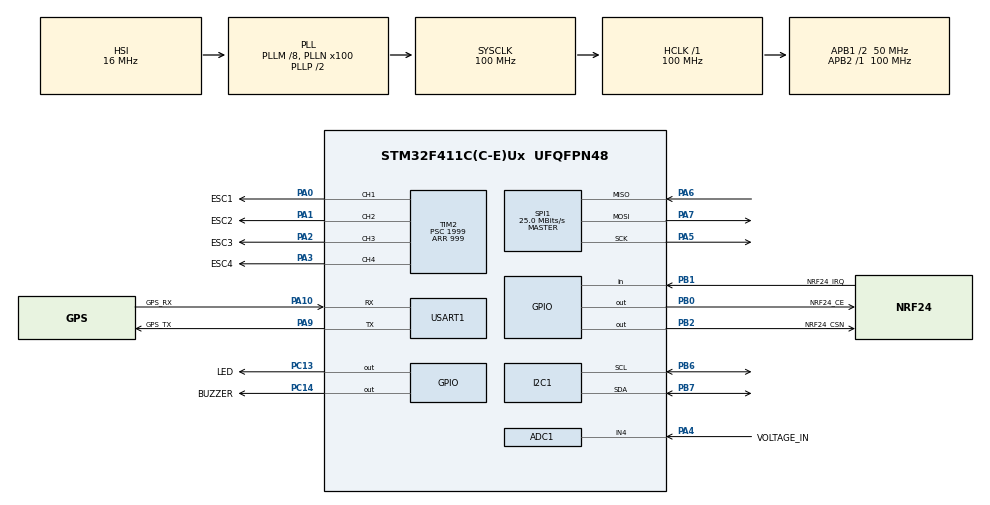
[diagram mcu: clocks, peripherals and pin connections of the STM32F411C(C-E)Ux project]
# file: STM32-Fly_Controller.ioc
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ADC1.Channel-2\#ChannelRegularConversion=ADC_CHANNEL_4
ADC1.ContinuousConvMode=ENABLE
ADC1.NbrOfConversionFlag=1
ADC1.Rank-2\#ChannelRegularConversion=1
ADC1.SamplingTime-2\#ChannelRegularConversion=ADC_SAMPLETIME_3CYCLES
ADC1.master=1
Dma.Request0=SPI1_RX
Dma.SPI1_RX.0.Direction=DMA_PERIPH_TO_MEMORY
Dma.SPI1_RX.0.FIFOMode=DMA_FIFOMODE_DISABLE
Dma.SPI1_RX.0.Instance=DMA2_Stream0
Dma.SPI1_RX.0.MemDataAlignment=DMA_MDATAALIGN_BYTE
Dma.SPI1_RX.0.MemInc=DMA_MINC_ENABLE
Dma.SPI1_RX.0.Mode=DMA_CIRCULAR
Dma.SPI1_RX.0.PeriphDataAlignment=DMA_PDATAALIGN_BYTE
Dma.SPI1_RX.0.PeriphInc=DMA_PINC_DISABLE
Dma.SPI1_RX.0.Priority=DMA_PRIORITY_LOW
I2C1.I2C_Mode=I2C_Fast
Mcu.Family=STM32F4
Mcu.Name=STM32F411C(C-E)Ux
Mcu.Package=UFQFPN48
NVIC.DMA2_Stream0_IRQn=true\:0\:0\:false\:false\:true\:false\:true\:true
NVIC.PriorityGroup=NVIC_PRIORITYGROUP_4
PA0-WKUP.GPIO_Label=ESC1
PA0-WKUP.Signal=S_TIM2_CH1_ETR
PA1.GPIO_Label=ESC2
PA1.Signal=S_TIM2_CH2
PA10.GPIO_Label=GPS_RX
PA10.Mode=Asynchronous
PA10.Signal=USART1_RX
PA13.Mode=Serial_Wire
PA13.Signal=SYS_JTMS-SWDIO
PA14.Mode=Serial_Wire
PA14.Signal=SYS_JTCK-SWCLK
PA2.GPIO_Label=ESC3
PA2.Signal=S_TIM2_CH3
PA3.GPIO_Label=ESC4
PA3.Signal=S_TIM2_CH4
PA4.GPIO_Label=VOLTAGE_IN
PA4.Signal=ADCx_IN4
PA5.Mode=Full_Duplex_Master
PA5.Signal=SPI1_SCK
PA6.Mode=Full_Duplex_Master
PA6.Signal=SPI1_MISO
PA7.Mode=Full_Duplex_Master
PA7.Signal=SPI1_MOSI
PA9.GPIO_Label=GPS_TX
PA9.Mode=Asynchronous
PA9.Signal=USART1_TX
PB0.GPIO_Label=NRF24_CE
PB0.Signal=GPIO_Output
PB1.GPIO_Label=NRF24_IRQ
PB1.Signal=GPIO_Input
PB2.GPIO_Label=NRF24_CSN
PB2.Signal=GPIO_Output
PB6.Mode=I2C
PB6.Signal=I2C1_SCL
PB7.Mode=I2C
PB7.Signal=I2C1_SDA
PC13-ANTI_TAMP.GPIO_Label=LED
PC13-ANTI_TAMP.Signal=GPIO_Output
PC14-OSC32_IN.GPIO_Label=BUZZER
PC14-OSC32_IN.Signal=GPIO_Output
PH0\ -\ OSC_IN.Mode=HSE-External-Oscillator
PH0\ -\ OSC_IN.Signal=RCC_OSC_IN
PH1\ -\ OSC_OUT.Mode=HSE-External-Oscillator
PH1\ -\ OSC_OUT.Signal=RCC_OSC_OUT
ProjectManager.HeapSize=0x200
ProjectManager.StackSize=0x400
ProjectManager.TargetToolchain=STM32CubeIDE
RCC.48MHZClocksFreq_Value=50000000
RCC.AHBFreq_Value=100000000
RCC.APB1CLKDivider=RCC_HCLK_DIV2
RCC.APB1Freq_Value=50000000
RCC.APB1TimFreq_Value=100000000
RCC.APB2Freq_Value=100000000
RCC.APB2TimFreq_Value=100000000
RCC.CortexFreq_Value=100000000
RCC.HCLKFreq_Value=100000000
RCC.HSE_VALUE=25000000
RCC.HSI_VALUE=16000000
RCC.LSE_VALUE=32768
RCC.PLLM=8
RCC.PLLN=100
RCC.SYSCLKFreq_VALUE=100000000
RCC.SYSCLKSource=RCC_SYSCLKSOURCE_PLLCLK
RCC.VCOOutputFreq_Value=200000000
SH.ADCx_IN4.0=ADC1_IN4,IN4
SH.S_TIM2_CH1_ETR.0=TIM2_CH1,PWM Generation1 CH1
SH.S_TIM2_CH2.0=TIM2_CH2,PWM Generation2 CH2
SH.S_TIM2_CH3.0=TIM2_CH3,PWM Generation3 CH3
SH.S_TIM2_CH4.0=TIM2_CH4,PWM Generation4 CH4
SPI1.BaudRatePrescaler=SPI_BAUDRATEPRESCALER_4
SPI1.CalculateBaudRate=25.0 MBits/s
SPI1.Direction=SPI_DIRECTION_2LINES
SPI1.Mode=SPI_MODE_MASTER
SPI1.VirtualType=VM_MASTER
TIM2.AutoReloadPreload=TIM_AUTORELOAD_PRELOAD_ENABLE
TIM2.Channel-PWM\ Generation1\ CH1=TIM_CHANNEL_1
TIM2.Channel-PWM\ Generation2\ CH2=TIM_CHANNEL_2
TIM2.Channel-PWM\ Generation3\ CH3=TIM_CHANNEL_3
TIM2.Channel-PWM\ Generation4\ CH4=TIM_CHANNEL_4
TIM2.OC1Preload_PWM=DISABLE
TIM2.Period=999
TIM2.Prescaler=1999
TIM2.Pulse-PWM\ Generation1\ CH1=45
USART1.VirtualMode=VM_ASYNC
VP_TIM2_VS_ClockSourceINT.Mode=Internal
board=custom

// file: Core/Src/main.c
/* USER CODE BEGIN Header */
/**
  ******************************************************************************
  * @file           : main.c
  * @brief          : Main program body
  ******************************************************************************
  * @attention
  *
  * Copyright (c) 2026 STMicroelectronics.
  * All rights reserved.
  *
  * This software is licensed under terms that can be found in the LICENSE file
  * in the root directory of this software component.
  * If no LICENSE file comes with this software, it is provided AS-IS.
  *
  ******************************************************************************
  */
/* USER CODE END Header */
#include "main.h"

/* USER CODE BEGIN Includes */
#include "nrf24l01.h"
#include "bmp280.h"
#include "stdio.h"
#include "hmc5883l.h"
#include "stdlib.h"
/* USER CODE END Includes */

ADC_HandleTypeDef hadc1;

I2C_HandleTypeDef hi2c1;

SPI_HandleTypeDef hspi1;
DMA_HandleTypeDef hdma_spi1_rx;

TIM_HandleTypeDef htim2;

UART_HandleTypeDef huart1;

void SystemClock_Config(void);
static void MX_GPIO_Init(void);
static void MX_DMA_Init(void);
static void MX_ADC1_Init(void);
static void MX_I2C1_Init(void);
static void MX_SPI1_Init(void);
static void MX_TIM2_Init(void);
static void MX_USART1_UART_Init(void);

/* USER CODE BEGIN 0 */
uint8_t RxAddr[] = {0xEE, 0xDD, 0xCC, 0xBB, 0xAA};
uint8_t RxData[32];
char erlog[50];
//RC_Packet r_packet;
hmc5884l_val_t mval;
uint8_t data[3];
hmc5884l_val_t val;
/* USER CODE END 0 */

int main(void)
{

  /* USER CODE BEGIN 1 */
	uint8_t ret;
  /* USER CODE END 1 */

  /* MCU Configuration--------------------------------------------------------*/

  /* Reset of all peripherals, Initializes the Flash interface and the Systick. */
  HAL_Init();

  /* Configure the system clock */
  SystemClock_Config();

  /* Initialize all configured peripherals */
  MX_GPIO_Init();
  MX_DMA_Init();
  MX_ADC1_Init();
  MX_I2C1_Init();
  MX_SPI1_Init();
  MX_TIM2_Init();
  MX_USART1_UART_Init();
  /* USER CODE BEGIN 2 */
//  uint32_t arr = __HAL_TIM_GET_AUTORELOAD(&htim2);
//  float duty = 4.5;
//  uint32_t ccr;
//  NRF24_Init();
//  NRF24_RxMode(RxAddr, 10);

//  if((ret = bmp280_init(OSRS_2, OSRS_2, MODE_NORMAL, T_SB_0p5, IIR_16)) != 0)
//  {
//	  sprintf(erlog, "bmp280_init: error code %d\n", ret);
//	  HAL_UART_Transmit(&huart1, (uint8_t *)&erlog, sizeof(erlog), HAL_MAX_DELAY);
//	  Error_Handler();
//  }

//  HAL_TIM_Base_Start(&htim2);
//  HAL_TIM_PWM_Start(&htim2, TIM_CHANNEL_1);
//  HAL_TIM_PWM_Start(&htim2, TIM_CHANNEL_2);
//  HAL_TIM_PWM_Start(&htim2, TIM_CHANNEL_3);
//  HAL_TIM_PWM_Start(&htim2, TIM_CHANNEL_4);
//  HAL_ADC_Start(&hadc1);
//  uint8_t id[3];
//
//  HAL_StatusTypeDef status;
//
//  status = HAL_I2C_Mem_Read(&hi2c1,
//                            HMC5883L_ADDR,
//                            0x0A,
//                            I2C_MEMADD_SIZE_8BIT,
//                            id,
//                            3,
//                            100);
//
//  if (status == HAL_OK)
//  {
//      sprintf(erlog, "ID: %02X %02X %02X\r\n",
//             id[0], id[1], id[2]);
//      HAL_UART_Transmit(&huart1, erlog, sizeof(erlog), HAL_MAX_DELAY);
//  }

  hmc5883l_config_t mconfig;
  mconfig.dataout_rate = DATAOUT_RATE_15HZ;
  mconfig.gain = GAIN_1p3Ga;
  mconfig.mode = NORMAL_MODE;
  mconfig.num_samples = SAMPLE_AVR_8;
  mconfig.op_mode = CONTINUOUS_OP_MODE;

  hmc5883l_init(&mconfig);

  HAL_I2C_Mem_Read(HMC5883L_I2C, HMC5883L_ADDR, IDA_REG, I2C_MEMADD_SIZE_8BIT, data, 3, 100);

  sprintf(erlog, "ID: %#02x %#02x %#02x \r\n",data[0] ,data[1], data[2]);
  HAL_UART_Transmit(&huart1, erlog, sizeof(erlog), HAL_MAX_DELAY);

  HAL_I2C_Mem_Read(HMC5883L_I2C, HMC5883L_ADDR, CONFIGA_REG, I2C_MEMADD_SIZE_8BIT, data, 3, 100);
  sprintf(erlog, "CONFIGA: %#02x, CONFIGB: %#02x, MODE: %#02x \r\n",data[0] ,data[1], data[2]);
  HAL_UART_Transmit(&huart1, erlog, sizeof(erlog), HAL_MAX_DELAY);
  /* USER CODE END 2 */

  /* Infinite loop */
  while (1)
  {

    /* USER CODE BEGIN 3 */
//	  if(isDataAvailable(1) == 1)
//	  {
//		  NRF24_Receive((uint8_t*)&r_packet);
//	  }
	hmc5883l_read(&mval);
	memset(erlog, 0, sizeof(erlog));
	sprintf(erlog, "Mag: %d, Z: %d, Y: %d \r\n",mval.x ,mval.z, mval.y);
	HAL_UART_Transmit(&huart1, erlog, sizeof(erlog), HAL_MAX_DELAY);
	HAL_Delay(1000);

  }
  /* USER CODE END 3 */
}

void SystemClock_Config(void)
{
  RCC_OscInitTypeDef RCC_OscInitStruct = {0};
  RCC_ClkInitTypeDef RCC_ClkInitStruct = {0};

  /** Configure the main internal regulator output voltage
  */
  __HAL_RCC_PWR_CLK_ENABLE();
  __HAL_PWR_VOLTAGESCALING_CONFIG(PWR_REGULATOR_VOLTAGE_SCALE1);

  /** Initializes the RCC Oscillators according to the specified parameters
  * in the RCC_OscInitTypeDef structure.
  */
  RCC_OscInitStruct.OscillatorType = RCC_OSCILLATORTYPE_HSI;
  RCC_OscInitStruct.HSIState = RCC_HSI_ON;
  RCC_OscInitStruct.HSICalibrationValue = RCC_HSICALIBRATION_DEFAULT;
  RCC_OscInitStruct.PLL.PLLState = RCC_PLL_ON;
  RCC_OscInitStruct.PLL.PLLSource = RCC_PLLSOURCE_HSI;
  RCC_OscInitStruct.PLL.PLLM = 8;
  RCC_OscInitStruct.PLL.PLLN = 100;
  RCC_OscInitStruct.PLL.PLLP = RCC_PLLP_DIV2;
  RCC_OscInitStruct.PLL.PLLQ = 4;
  if (HAL_RCC_OscConfig(&RCC_OscInitStruct) != HAL_OK)
  {
    Error_Handler();
  }

  /** Initializes the CPU, AHB and APB buses clocks
  */
  RCC_ClkInitStruct.ClockType = RCC_CLOCKTYPE_HCLK|RCC_CLOCKTYPE_SYSCLK
                              |RCC_CLOCKTYPE_PCLK1|RCC_CLOCKTYPE_PCLK2;
  RCC_ClkInitStruct.SYSCLKSource = RCC_SYSCLKSOURCE_PLLCLK;
  RCC_ClkInitStruct.AHBCLKDivider = RCC_SYSCLK_DIV1;
  RCC_ClkInitStruct.APB1CLKDivider = RCC_HCLK_DIV2;
  RCC_ClkInitStruct.APB2CLKDivider = RCC_HCLK_DIV1;

  if (HAL_RCC_ClockConfig(&RCC_ClkInitStruct, FLASH_LATENCY_3) != HAL_OK)
  {
    Error_Handler();
  }
}

static void MX_ADC1_Init(void)
{

  ADC_ChannelConfTypeDef sConfig = {0};

  /** Configure the global features of the ADC (Clock, Resolution, Data Alignment and number of conversion)
  */
  hadc1.Instance = ADC1;
  hadc1.Init.ClockPrescaler = ADC_CLOCK_SYNC_PCLK_DIV4;
  hadc1.Init.Resolution = ADC_RESOLUTION_12B;
  hadc1.Init.ScanConvMode = DISABLE;
  hadc1.Init.ContinuousConvMode = ENABLE;
  hadc1.Init.DiscontinuousConvMode = DISABLE;
  hadc1.Init.ExternalTrigConvEdge = ADC_EXTERNALTRIGCONVEDGE_NONE;
  hadc1.Init.ExternalTrigConv = ADC_SOFTWARE_START;
  hadc1.Init.DataAlign = ADC_DATAALIGN_RIGHT;
  hadc1.Init.NbrOfConversion = 1;
  hadc1.Init.DMAContinuousRequests = DISABLE;
  hadc1.Init.EOCSelection = ADC_EOC_SINGLE_CONV;
  if (HAL_ADC_Init(&hadc1) != HAL_OK)
  {
    Error_Handler();
  }

  /** Configure for the selected ADC regular channel its corresponding rank in the sequencer and its sample time.
  */
  sConfig.Channel = ADC_CHANNEL_4;
  sConfig.Rank = 1;
  sConfig.SamplingTime = ADC_SAMPLETIME_3CYCLES;
  if (HAL_ADC_ConfigChannel(&hadc1, &sConfig) != HAL_OK)
  {
    Error_Handler();
  }

}

static void MX_I2C1_Init(void)
{

  hi2c1.Instance = I2C1;
  hi2c1.Init.ClockSpeed = 400000;
  hi2c1.Init.DutyCycle = I2C_DUTYCYCLE_2;
  hi2c1.Init.OwnAddress1 = 0;
  hi2c1.Init.AddressingMode = I2C_ADDRESSINGMODE_7BIT;
  hi2c1.Init.DualAddressMode = I2C_DUALADDRESS_DISABLE;
  hi2c1.Init.OwnAddress2 = 0;
  hi2c1.Init.GeneralCallMode = I2C_GENERALCALL_DISABLE;
  hi2c1.Init.NoStretchMode = I2C_NOSTRETCH_DISABLE;
  if (HAL_I2C_Init(&hi2c1) != HAL_OK)
  {
    Error_Handler();
  }

}

static void MX_SPI1_Init(void)
{

  /* SPI1 parameter configuration*/
  hspi1.Instance = SPI1;
  hspi1.Init.Mode = SPI_MODE_MASTER;
  hspi1.Init.Direction = SPI_DIRECTION_2LINES;
  hspi1.Init.DataSize = SPI_DATASIZE_8BIT;
  hspi1.Init.CLKPolarity = SPI_POLARITY_LOW;
  hspi1.Init.CLKPhase = SPI_PHASE_1EDGE;
  hspi1.Init.NSS = SPI_NSS_SOFT;
  hspi1.Init.BaudRatePrescaler = SPI_BAUDRATEPRESCALER_4;
  hspi1.Init.FirstBit = SPI_FIRSTBIT_MSB;
  hspi1.Init.TIMode = SPI_TIMODE_DISABLE;
  hspi1.Init.CRCCalculation = SPI_CRCCALCULATION_DISABLE;
  hspi1.Init.CRCPolynomial = 10;
  if (HAL_SPI_Init(&hspi1) != HAL_OK)
  {
    Error_Handler();
  }

}

static void MX_TIM2_Init(void)
{

  TIM_ClockConfigTypeDef sClockSourceConfig = {0};
  TIM_MasterConfigTypeDef sMasterConfig = {0};
  TIM_OC_InitTypeDef sConfigOC = {0};

  htim2.Instance = TIM2;
  htim2.Init.Prescaler = 1999;
  htim2.Init.CounterMode = TIM_COUNTERMODE_UP;
  htim2.Init.Period = 999;
  htim2.Init.ClockDivision = TIM_CLOCKDIVISION_DIV1;
  htim2.Init.AutoReloadPreload = TIM_AUTORELOAD_PRELOAD_ENABLE;
  if (HAL_TIM_Base_Init(&htim2) != HAL_OK)
  {
    Error_Handler();
  }
  sClockSourceConfig.ClockSource = TIM_CLOCKSOURCE_INTERNAL;
  if (HAL_TIM_ConfigClockSource(&htim2, &sClockSourceConfig) != HAL_OK)
  {
    Error_Handler();
  }
  if (HAL_TIM_PWM_Init(&htim2) != HAL_OK)
  {
    Error_Handler();
  }
  sMasterConfig.MasterOutputTrigger = TIM_TRGO_RESET;
  sMasterConfig.MasterSlaveMode = TIM_MASTERSLAVEMODE_DISABLE;
  if (HAL_TIMEx_MasterConfigSynchronization(&htim2, &sMasterConfig) != HAL_OK)
  {
    Error_Handler();
  }
  sConfigOC.OCMode = TIM_OCMODE_PWM1;
  sConfigOC.Pulse = 45;
  sConfigOC.OCPolarity = TIM_OCPOLARITY_HIGH;
  sConfigOC.OCFastMode = TIM_OCFAST_DISABLE;
  if (HAL_TIM_PWM_ConfigChannel(&htim2, &sConfigOC, TIM_CHANNEL_1) != HAL_OK)
  {
    Error_Handler();
  }
  __HAL_TIM_DISABLE_OCxPRELOAD(&htim2, TIM_CHANNEL_1);
  sConfigOC.Pulse = 0;
  if (HAL_TIM_PWM_ConfigChannel(&htim2, &sConfigOC, TIM_CHANNEL_2) != HAL_OK)
  {
    Error_Handler();
  }
  if (HAL_TIM_PWM_ConfigChannel(&htim2, &sConfigOC, TIM_CHANNEL_3) != HAL_OK)
  {
    Error_Handler();
  }
  if (HAL_TIM_PWM_ConfigChannel(&htim2, &sConfigOC, TIM_CHANNEL_4) != HAL_OK)
  {
    Error_Handler();
  }
  HAL_TIM_MspPostInit(&htim2);

}

static void MX_USART1_UART_Init(void)
{

  huart1.Instance = USART1;
  huart1.Init.BaudRate = 115200;
  huart1.Init.WordLength = UART_WORDLENGTH_8B;
  huart1.Init.StopBits = UART_STOPBITS_1;
  huart1.Init.Parity = UART_PARITY_NONE;
  huart1.Init.Mode = UART_MODE_TX_RX;
  huart1.Init.HwFlowCtl = UART_HWCONTROL_NONE;
  huart1.Init.OverSampling = UART_OVERSAMPLING_16;
  if (HAL_UART_Init(&huart1) != HAL_OK)
  {
    Error_Handler();
  }

}

static void MX_DMA_Init(void)
{

  /* DMA controller clock enable */
  __HAL_RCC_DMA2_CLK_ENABLE();

  /* DMA interrupt init */
  /* DMA2_Stream0_IRQn interrupt configuration */
  HAL_NVIC_SetPriority(DMA2_Stream0_IRQn, 0, 0);
  HAL_NVIC_EnableIRQ(DMA2_Stream0_IRQn);

}

static void MX_GPIO_Init(void)
{
  GPIO_InitTypeDef GPIO_InitStruct = {0};

  /* GPIO Ports Clock Enable */
  __HAL_RCC_GPIOC_CLK_ENABLE();
  __HAL_RCC_GPIOH_CLK_ENABLE();
  __HAL_RCC_GPIOA_CLK_ENABLE();
  __HAL_RCC_GPIOB_CLK_ENABLE();

  /*Configure GPIO pin Output Level */
  HAL_GPIO_WritePin(GPIOC, LED_Pin|BUZZER_Pin, GPIO_PIN_RESET);

  /*Configure GPIO pin Output Level */
  HAL_GPIO_WritePin(GPIOB, NRF24_CE_Pin|NRF24_CSN_Pin, GPIO_PIN_RESET);

  /*Configure GPIO pins : LED_Pin BUZZER_Pin */
  GPIO_InitStruct.Pin = LED_Pin|BUZZER_Pin;
  GPIO_InitStruct.Mode = GPIO_MODE_OUTPUT_PP;
  GPIO_InitStruct.Pull = GPIO_NOPULL;
  GPIO_InitStruct.Speed = GPIO_SPEED_FREQ_LOW;
  HAL_GPIO_Init(GPIOC, &GPIO_InitStruct);

  /*Configure GPIO pins : NRF24_CE_Pin NRF24_CSN_Pin */
  GPIO_InitStruct.Pin = NRF24_CE_Pin|NRF24_CSN_Pin;
  GPIO_InitStruct.Mode = GPIO_MODE_OUTPUT_PP;
  GPIO_InitStruct.Pull = GPIO_NOPULL;
  GPIO_InitStruct.Speed = GPIO_SPEED_FREQ_LOW;
  HAL_GPIO_Init(GPIOB, &GPIO_InitStruct);

  /*Configure GPIO pin : NRF24_IRQ_Pin */
  GPIO_InitStruct.Pin = NRF24_IRQ_Pin;
  GPIO_InitStruct.Mode = GPIO_MODE_INPUT;
  GPIO_InitStruct.Pull = GPIO_NOPULL;
  HAL_GPIO_Init(NRF24_IRQ_GPIO_Port, &GPIO_InitStruct);

}

/* USER CODE BEGIN 4 */
void HAL_TIM_PeriodElapsedCallback(TIM_HandleTypeDef *htim)
{
    if (htim->Instance == TIM2)
    {
        HAL_GPIO_TogglePin(GPIOC, GPIO_PIN_13);
    }
}
/* USER CODE END 4 */

void Error_Handler(void)
{
  __disable_irq();
  while (1)
  {
  }
}
